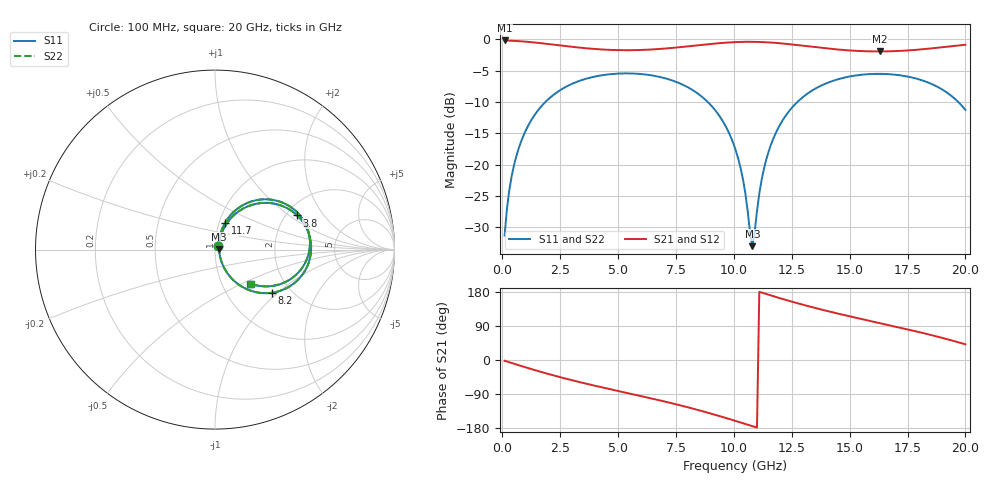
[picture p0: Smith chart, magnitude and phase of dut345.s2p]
! Touchstone file exported from HFSS 2026.1.0
!  File:  C:/ffzhzh/LocalFiles/Ansys_Project_Files/temp_train_TSV_RDL_345_1783035612_51716.aedt
!  Generated:  07:55:29 AM Jul  3, 2026
!  Design:  TSV_RDL
!  Project:  temp_train_TSV_RDL_345_1783035612_51716
! Variables:
!  h_bsmrdl = 5.15um
!  h_ox = 20um
!  h_rdl = 5um
!  h_sub = 66.66um
!  h_tmrdl = 3.82um
!  h_tsv = 66.66um
!  h_via = 3um
!  l_bsmrdl = 692.17um
!  l_sub = 5638.99um
!  l_tmrdl = 751.2um
!  m_sub = 200um
!  pitch = 58.94um
!  r_tsv = 12.51um
!  s_tmrdl = 10um
!  w_bsmrdl = 29.06um
!  w_sub = 500um
!  w_tmrdl = 23.5um
!  x_tsv_center1 = 762.95um
!  x_tsv_center2 = 1484.18um
!  x_tsv_center3 = 2258.88um
!  x_tsv_center4 = 2980.11um
!  x_tsv_center5 = 3754.81um
!  x_tsv_center6 = 4476.04um
# GHz S MA R 50.000000
! Terminal data exported
! Port[1] = TM_RDL1_1_T1
! Port[2] = TM_RDL5_1_T1
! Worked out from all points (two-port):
!   200 points, 100 MHz to 20 GHz, reference 50 ohm
!   highest |S21| = -0.16 dB at 100 MHz (marker M1); lowest = -1.9 dB at 16.3 GHz (marker M2)
!   |S21| within 3 dB of the highest: start of sweep to end of sweep
!   lowest |S11| = -33.0 dB at 10.8 GHz (marker M3), VSWR 1.05, Z = 52.3 + j0.181 ohm
!   |S11| at or under -10 dB: start of sweep to 1.857 GHz; 8.877 GHz to 12.74 GHz (3.863 GHz wide, 35.7 % of centre); 19.7 GHz to end of sweep
!   |S22| runs from -33.1 to -5.4 dB; largest |S21 - S12| = 1.6e-14
!   S11 on the Smith chart (normalised r, x): 100 MHz: 1.04, +0.04; 3.8 GHz: 2.29, +1.15; 8.2 GHz: 1.60, -0.91; 11.7 GHz: 1.07, +0.33; 20 GHz: 1.36, -0.56
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0.1  0.02718 47.0  0.982 -2.0  0.982 -2.0  0.02718 47.0
! Gamma 0 0 0 0
! Port Impedance 50 0 50 0
0.3  0.06219 65.4  0.9785 -6.0  0.9785 -6.0  0.06219 65.4
0.5  0.09801 67.9  0.9746 -9.8  0.9746 -9.8  0.09801 67.9
1.1  0.2021 62.6  0.9574 -21.1  0.9574 -21.1  0.2021 62.6
2.1  0.3478 47.5  0.9145 -38.8  0.9145 -38.8  0.3478 47.5
3.5  0.4784 26.7  0.8546 -60.7  0.8546 -60.7  0.4784 26.7
3.8  0.4959 22.5  0.8449 -65.1  0.8449 -65.1  0.4959 22.5
5.3  0.5359 2.5  0.8208 -85.8  0.8208 -85.8  0.5359 2.5
6.8  0.5019 -17.3  0.8398 -106.5  0.8398 -106.5  0.502 -17.4
8.2  0.3966 -37.3  0.8886 -127.8  0.8886 -127.8  0.3966 -37.3
9.3  0.2566 -53.8  0.9319 -146.5  0.9319 -146.5  0.2566 -53.9
10.1  0.127 -63.1  0.9532 -161.3  0.9532 -161.3  0.127 -63.2
10.4  0.07539 -61.5  0.957 -166.9  0.957 -166.9  0.07531 -61.7
10.8  0.02236 4.4  0.9578 -174.6  0.9578 -174.6  0.02202 4.4
11.2  0.0757 69.2  0.9536 177.8  0.9536 177.8  0.07557 69.5
11.7  0.1607 69.3  0.942 168.5  0.942 168.5  0.1606 69.4
12.4  0.2698 60.2  0.9168 155.8  0.9168 155.8  0.2697 60.3
13.4  0.3931 45.5  0.8731 139.1  0.8731 139.1  0.3931 45.5
16.3  0.5314 6.5  0.8024 97.5  0.8024 97.5  0.5314 6.5
16.7  0.5282 1.4  0.8043 92.0  0.8043 92.0  0.5282 1.4
18.6  0.4362 -24.0  0.8512 64.7  0.8512 64.7  0.4362 -24.0
20  0.2739 -43.8  0.9072 41.4  0.9072 41.4  0.274 -43.8
